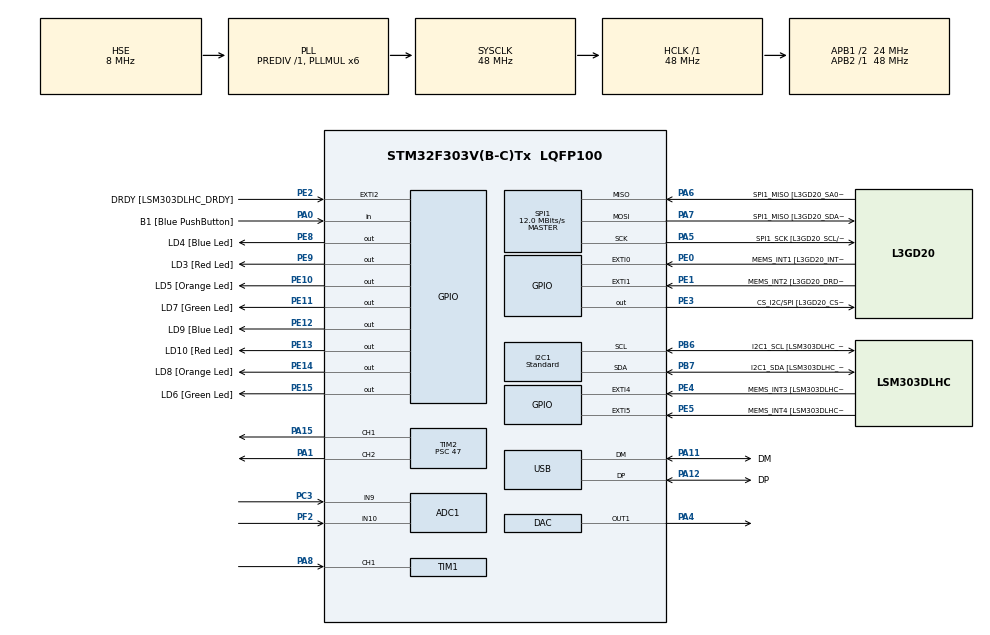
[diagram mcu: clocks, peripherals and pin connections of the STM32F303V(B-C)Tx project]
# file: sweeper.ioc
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ADC1.Channel-0\#ChannelRegularConversion=ADC_CHANNEL_9
ADC1.ContinuousConvMode=ENABLE
ADC1.NbrOfConversionFlag=1
ADC1.Offset-0\#ChannelRegularConversion=0
ADC1.OffsetNumber-0\#ChannelRegularConversion=ADC_OFFSET_NONE
ADC1.Rank-0\#ChannelRegularConversion=1
ADC1.SamplingTime-0\#ChannelRegularConversion=ADC_SAMPLETIME_1CYCLE_5
ADC1.SamplingTimeOPAMP-0\#ChannelRegularConversion=ADC_SAMPLETIME_19CYCLES_5
ADC1.SingleDiff-0\#ChannelRegularConversion=ADC_DIFFERENTIAL_ENDED
ADC1.master=1
DAC.DAC_Trigger=DAC_TRIGGER_T3_TRGO
Dma.DAC_CH1.0.Direction=DMA_MEMORY_TO_PERIPH
Dma.DAC_CH1.0.Instance=DMA1_Channel3
Dma.DAC_CH1.0.MemDataAlignment=DMA_MDATAALIGN_WORD
Dma.DAC_CH1.0.MemInc=DMA_MINC_ENABLE
Dma.DAC_CH1.0.Mode=DMA_CIRCULAR
Dma.DAC_CH1.0.PeriphDataAlignment=DMA_PDATAALIGN_WORD
Dma.DAC_CH1.0.PeriphInc=DMA_PINC_DISABLE
Dma.DAC_CH1.0.Priority=DMA_PRIORITY_LOW
Dma.Request0=DAC_CH1
I2C1.I2C_Speed_Mode=I2C_Standard
I2C1.Speed=100
I2C1.Timing-I2C=0x2000090E
Mcu.Family=STM32F3
Mcu.Name=STM32F303V(B-C)Tx
Mcu.Package=LQFP100
NVIC.DMA1_Channel3_IRQn=true\:0\:0\:false\:false\:true\:false\:true\:true
NVIC.PriorityGroup=NVIC_PRIORITYGROUP_0
NVIC.TIM1_CC_IRQn=true\:0\:0\:false\:false\:true\:true\:true\:true
NVIC.TIM2_IRQn=true\:0\:0\:false\:false\:true\:true\:true\:true
PA0.GPIO_Label=B1 [Blue PushButton]
PA0.Signal=GPIO_Input
PA1.Signal=S_TIM2_CH2
PA11.GPIO_Label=DM
PA11.Mode=Device
PA11.Signal=USB_DM
PA12.GPIO_Label=DP
PA12.Mode=Device
PA12.Signal=USB_DP
PA13.GPIO_Label=SWDIO
PA13.Mode=Serial_Wire
PA13.Signal=SYS_JTMS-SWDIO
PA14.GPIO_Label=SWCLK
PA14.Mode=Serial_Wire
PA14.Signal=SYS_JTCK-SWCLK
PA15.Signal=S_TIM2_CH1_ETR
PA4.Signal=COMP_DAC1_group
PA5.GPIO_Label=SPI1_SCK [L3GD20_SCL/SPC]
PA5.Mode=Full_Duplex_Master
PA5.Signal=SPI1_SCK
PA6.GPIO_Label=SPI1_MISO [L3GD20_SA0/SDO]
PA6.Mode=Full_Duplex_Master
PA6.Signal=SPI1_MISO
PA7.GPIO_Label=SPI1_MISO [L3GD20_SDA/SDI/SDO]
PA7.Mode=Full_Duplex_Master
PA7.Signal=SPI1_MOSI
PA8.Signal=S_TIM1_CH1
PB3.GPIO_Label=SWO
PB3.Signal=SYS_JTDO-TRACESWO
PB6.GPIO_Label=I2C1_SCL [LSM303DLHC_SCL]
PB6.GPIO_Pu=GPIO_PULLUP
PB6.Mode=I2C
PB6.Signal=I2C1_SCL
PB7.GPIO_Label=I2C1_SDA [LSM303DLHC_SDA]
PB7.GPIO_Pu=GPIO_PULLUP
PB7.Mode=I2C
PB7.Signal=I2C1_SDA
PC14-OSC32_IN.GPIO_Label=OSC32_IN
PC14-OSC32_IN.Signal=RCC_OSC32_IN
PC15-OSC32_OUT.GPIO_Label=OSC32_OUT
PC15-OSC32_OUT.Signal=RCC_OSC32_OUT
PC3.Signal=ADCx_IN9
PE0.GPIO_Label=MEMS_INT1 [L3GD20_INT1]
PE0.GPIO_ModeDefaultEXTI=GPIO_MODE_EVT_RISING
PE0.Signal=GPXTI0
PE1.GPIO_Label=MEMS_INT2 [L3GD20_DRDY/INT2]
PE1.GPIO_ModeDefaultEXTI=GPIO_MODE_EVT_RISING
PE1.Signal=GPXTI1
PE10.GPIO_Label=LD5 [Orange Led]
PE10.Signal=GPIO_Output
PE11.GPIO_Label=LD7 [Green Led]
PE11.Signal=GPIO_Output
PE12.GPIO_Label=LD9 [Blue Led]
PE12.Signal=GPIO_Output
PE13.GPIO_Label=LD10 [Red Led]
PE13.Signal=GPIO_Output
PE14.GPIO_Label=LD8 [Orange Led]
PE14.Signal=GPIO_Output
PE15.GPIO_Label=LD6 [Green Led]
PE15.Signal=GPIO_Output
PE2.GPIO_Label=DRDY [LSM303DLHC_DRDY]
PE2.GPIO_ModeDefaultEXTI=GPIO_MODE_EVT_RISING
PE2.Signal=GPXTI2
PE3.GPIO_Label=CS_I2C/SPI [L3GD20_CS_I2C/SPI]
PE3.Signal=GPIO_Output
PE4.GPIO_Label=MEMS_INT3 [LSM303DLHC_INT1]
PE4.GPIO_ModeDefaultEXTI=GPIO_MODE_EVT_RISING
PE4.Signal=GPXTI4
PE5.GPIO_Label=MEMS_INT4 [LSM303DLHC_INT2]
PE5.GPIO_ModeDefaultEXTI=GPIO_MODE_EVT_RISING
PE5.Signal=GPXTI5
PE8.GPIO_Label=LD4 [Blue Led]
PE8.Signal=GPIO_Output
PE9.GPIO_Label=LD3 [Red Led]
PE9.Signal=GPIO_Output
PF0-OSC_IN.GPIO_Label=OSC_IN
PF0-OSC_IN.Mode=HSE-External-Clock-Source
PF0-OSC_IN.Signal=RCC_OSC_IN
PF1-OSC_OUT.GPIO_Label=OSC_OUT
PF1-OSC_OUT.Signal=RCC_OSC_OUT
PF2.Signal=ADCx_IN10
ProjectManager.HeapSize=0x200
ProjectManager.StackSize=0x400
ProjectManager.TargetToolchain=STM32CubeIDE
RCC.AHBFreq_Value=48000000
RCC.APB1CLKDivider=RCC_HCLK_DIV2
RCC.APB1Freq_Value=24000000
RCC.APB1TimFreq_Value=48000000
RCC.APB2Freq_Value=48000000
RCC.APB2TimFreq_Value=48000000
RCC.CortexFreq_Value=48000000
RCC.HCLKFreq_Value=48000000
RCC.HSE_VALUE=8000000
RCC.HSI_VALUE=8000000
RCC.LSE_VALUE=32768
RCC.PLLMUL=RCC_PLL_MUL6
RCC.SYSCLKFreq_VALUE=48000000
RCC.SYSCLKSourceVirtual=RCC_SYSCLKSOURCE_PLLCLK
RCC.USBFreq_Value=48000000
SH.ADCx_IN10.0=ADC1_IN10,IN9-Differential
SH.ADCx_IN9.0=ADC1_IN9,IN9-Differential
SH.COMP_DAC1_group.0=DAC_OUT1,DAC_OUT1
SH.S_TIM1_CH1.0=TIM1_CH1,Input_Capture1_from_TI1
SH.S_TIM2_CH1_ETR.0=TIM2_CH1,PWM Generation1 CH1
SH.S_TIM2_CH2.0=TIM2_CH2,PWM Generation2 CH2
SPI1.BaudRatePrescaler=SPI_BAUDRATEPRESCALER_4
SPI1.BaudRatePrescaler-Full_Duplex_Master=SPI_BAUDRATEPRESCALER_2
SPI1.CalculateBaudRate=12.0 MBits/s
SPI1.CalculateBaudRate-Full_Duplex_Master=24.0 MBits/s
SPI1.Direction=SPI_DIRECTION_2LINES
SPI1.Mode=SPI_MODE_MASTER
SPI1.Mode-Full_Duplex_Master=SPI_MODE_MASTER
SPI1.VirtualType=VM_MASTER
TIM1.Channel-Input_Capture1_from_TI1=TIM_CHANNEL_1
TIM1.ICPolarity_CH1=TIM_INPUTCHANNELPOLARITY_BOTHEDGE
TIM1.Prescaler=47
TIM2.AutoReloadPreload=TIM_AUTORELOAD_PRELOAD_ENABLE
TIM2.Channel-PWM\ Generation1\ CH1=TIM_CHANNEL_1
TIM2.Channel-PWM\ Generation2\ CH2=TIM_CHANNEL_2
TIM2.Period=20000
TIM2.Prescaler=47
TIM2.Pulse-PWM\ Generation1\ CH1=2000
TIM2.Pulse-PWM\ Generation2\ CH2=2000
TIM3.Period=10-1
TIM3.Prescaler=48-1
TIM3.TIM_MasterOutputTrigger=TIM_TRGO_UPDATE
VP_TIM1_VS_ClockSourceINT.Mode=Internal
VP_TIM3_VS_ClockSourceINT.Mode=Internal
board=STM32F3DISCOVERY

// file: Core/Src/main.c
/* USER CODE BEGIN Header */
/**
 ******************************************************************************
 * @file           : main.c
 * @brief          : Main program body
 ******************************************************************************
 * @attention
 *
 * Copyright (c) 2023 STMicroelectronics.
 * All rights reserved.
 *
 * This software is licensed under terms that can be found in the LICENSE file
 * in the root directory of this software component.
 * If no LICENSE file comes with this software, it is provided AS-IS.
 *
 ******************************************************************************
 */
/* USER CODE END Header */
#include "main.h"

/* USER CODE BEGIN Includes */

#include "ptu_definitions.h"
#include "ptu_i2c.h"
#include "lidar_sweep.h"
#include "sweep_flag.h"
#include "timer.h"
#include "math.h"
#include "buzzer.h"
#include "LaptopInterface.h"

/* USER CODE END Includes */

ADC_HandleTypeDef hadc1;

DAC_HandleTypeDef hdac;
DMA_HandleTypeDef hdma_dac_ch1;

I2C_HandleTypeDef hi2c1;

SPI_HandleTypeDef hspi1;

TIM_HandleTypeDef htim1;
TIM_HandleTypeDef htim2;
TIM_HandleTypeDef htim3;

PCD_HandleTypeDef hpcd_USB_FS;

/* USER CODE BEGIN PV */

#define MAX_WAIT 1000

/* USER CODE END PV */

void SystemClock_Config(void);
static void MX_GPIO_Init(void);
static void MX_DMA_Init(void);
static void MX_I2C1_Init(void);
static void MX_SPI1_Init(void);
static void MX_USB_PCD_Init(void);
static void MX_TIM2_Init(void);
static void MX_TIM1_Init(void);
static void MX_DAC_Init(void);
static void MX_TIM3_Init(void);
static void MX_ADC1_Init(void);
/* USER CODE BEGIN PFP */
void green_routine();
void red_routine();
/* USER CODE END PFP */

/* USER CODE BEGIN 0 */

uint32_t get_cleaned_pot()
{
	uint32_t readValue = Potentiometer_Read();
	uint32_t delayTime  = readValue / 2.8 + 640;
	return delayTime;
}

void enableLEDs()
{
	RCC->AHBENR |= RCC_AHBENR_GPIOEEN;

	uint16_t *led_output_registers = ((uint16_t *)&(GPIOE->MODER)) + 1;
	*led_output_registers = 0x5555;
}

void toggleLEDs(uint8_t bitmap) {
	*(((uint8_t*)&(GPIOE->ODR)) + 1) = (*(((uint8_t*)&(GPIOE->ODR)) + 1)) ^ bitmap;
}

void toggle(void){
	toggleLEDs(0b11111111);
}

void enable_clocks()
{
    RCC->AHBENR |= RCC_AHBENR_GPIOAEN | RCC_AHBENR_GPIOCEN | RCC_AHBENR_GPIOEEN;
}

void green_routine()
{
	// get pot value
	// set display to be green
	// wait proportional to pot value
	//HAL_Delay(1000);
	// set oneshot timer to end sweep
	//uint32_t readValue = Potentiometer_Read();
	toggle();
	setLaptopGreen();
	setDelay(&DelayTIM4, get_cleaned_pot(), &red_routine);
	set_green();
}

void red_routine()
{
	set_red();
	setLaptopRed();
	// get pot value
	// set display to be green
	// wait proportional to pot value
	//HAL_Delay(1000);
	// set oneshot timer to end sweep
	//uint32_t readValue = Potentiometer_Read();
//	uint32_t cleanedValue;
//	cleanedValue = (readvalue/4294967296)

	setDelay(&DelayTIM4, 3 * get_cleaned_pot(), &green_routine);
	toggle();

}

void detected_routine() {
	stopTimer(&DelayTIM4);
	set_detected();
}

void finished_routine() {
	stopTimer(&DelayTIM4);
	set_finished();
	return;
}

void setup_routine()
{
	set_setup();
	setup_sweeper(&hi2c1, &hspi1, &htim1, &htim2, &hpcd_USB_FS);
	timerInitialise(&DelayTIM4);
	HAL_TIM_Base_Start(&htim3);
	laptopInterfaceInitialise(&finished_routine);
	enable_interrupt();
	enable_clocks();
	initButtonHandler(&green_routine);
}

/* USER CODE END 0 */

int main(void)
{
  /* USER CODE BEGIN 1 */

	// Pin wiring
	//  2 x grounds between stm32 and PTU
	//  PA1 and PA15 are TIM2 channels 1 and 2. These are used to drive
	//    the PWM for the PTU
	//  PA8 is TIM1 channel 1, this is used for the LASPWM (the laser PWM signal)
	//  PB6 is I2C1 clock (SCL on the PTU), PB7 is I2C1 data (SDA on the PTU)

  /* USER CODE END 1 */

  /* MCU Configuration--------------------------------------------------------*/

  /* Reset of all peripherals, Initializes the Flash interface and the Systick. */
  HAL_Init();

  /* Configure the system clock */
  SystemClock_Config();

  /* Initialize all configured peripherals */
  MX_GPIO_Init();
  MX_DMA_Init();
  MX_I2C1_Init();
  MX_SPI1_Init();
  MX_USB_PCD_Init();
  MX_TIM2_Init();
  MX_TIM1_Init();
  MX_DAC_Init();
  MX_TIM3_Init();
  MX_ADC1_Init();
  /* USER CODE BEGIN 2 */
  HAL_ADC_Start(&hadc1);

  /* USER CODE END 2 */

  /* Infinite loop */
  /* USER CODE BEGIN WHILE */

	setup_routine();
	//toggleBuzzer(hdac);
	while (1) {
		uint32_t readValue = Potentiometer_Read();
		switch(get_status()) {
			case FINISHED:
				stopTimer(&DelayTIM4);
				break;
			case SETUP:
				break;
			case RED:
				sweep_routine(&detected_routine);
				break;
			case DETECTED:
				if (get_buzzer() == 0)
				{
					toggleBuzzer(hdac);
				}
				break;
			case GREEN:
				if (get_buzzer() == 1)
				{
					toggleBuzzer(hdac);
				}
				break;
		}

    /* USER CODE END WHILE */

	}
}

void SystemClock_Config(void)
{
  RCC_OscInitTypeDef RCC_OscInitStruct = {0};
  RCC_ClkInitTypeDef RCC_ClkInitStruct = {0};
  RCC_PeriphCLKInitTypeDef PeriphClkInit = {0};

  /** Initializes the RCC Oscillators according to the specified parameters
  * in the RCC_OscInitTypeDef structure.
  */
  RCC_OscInitStruct.OscillatorType = RCC_OSCILLATORTYPE_HSI|RCC_OSCILLATORTYPE_HSE;
  RCC_OscInitStruct.HSEState = RCC_HSE_BYPASS;
  RCC_OscInitStruct.HSEPredivValue = RCC_HSE_PREDIV_DIV1;
  RCC_OscInitStruct.HSIState = RCC_HSI_ON;
  RCC_OscInitStruct.HSICalibrationValue = RCC_HSICALIBRATION_DEFAULT;
  RCC_OscInitStruct.PLL.PLLState = RCC_PLL_ON;
  RCC_OscInitStruct.PLL.PLLSource = RCC_PLLSOURCE_HSE;
  RCC_OscInitStruct.PLL.PLLMUL = RCC_PLL_MUL6;
  if (HAL_RCC_OscConfig(&RCC_OscInitStruct) != HAL_OK)
  {
    Error_Handler();
  }

  /** Initializes the CPU, AHB and APB buses clocks
  */
  RCC_ClkInitStruct.ClockType = RCC_CLOCKTYPE_HCLK|RCC_CLOCKTYPE_SYSCLK
                              |RCC_CLOCKTYPE_PCLK1|RCC_CLOCKTYPE_PCLK2;
  RCC_ClkInitStruct.SYSCLKSource = RCC_SYSCLKSOURCE_PLLCLK;
  RCC_ClkInitStruct.AHBCLKDivider = RCC_SYSCLK_DIV1;
  RCC_ClkInitStruct.APB1CLKDivider = RCC_HCLK_DIV2;
  RCC_ClkInitStruct.APB2CLKDivider = RCC_HCLK_DIV1;

  if (HAL_RCC_ClockConfig(&RCC_ClkInitStruct, FLASH_LATENCY_1) != HAL_OK)
  {
    Error_Handler();
  }
  PeriphClkInit.PeriphClockSelection = RCC_PERIPHCLK_USB|RCC_PERIPHCLK_I2C1
                              |RCC_PERIPHCLK_TIM1|RCC_PERIPHCLK_ADC12;
  PeriphClkInit.Adc12ClockSelection = RCC_ADC12PLLCLK_DIV1;
  PeriphClkInit.I2c1ClockSelection = RCC_I2C1CLKSOURCE_HSI;
  PeriphClkInit.USBClockSelection = RCC_USBCLKSOURCE_PLL;
  PeriphClkInit.Tim1ClockSelection = RCC_TIM1CLK_HCLK;
  if (HAL_RCCEx_PeriphCLKConfig(&PeriphClkInit) != HAL_OK)
  {
    Error_Handler();
  }
}

static void MX_ADC1_Init(void)
{

  ADC_MultiModeTypeDef multimode = {0};
  ADC_ChannelConfTypeDef sConfig = {0};

  /** Common config
  */
  hadc1.Instance = ADC1;
  hadc1.Init.ClockPrescaler = ADC_CLOCK_ASYNC_DIV1;
  hadc1.Init.Resolution = ADC_RESOLUTION_12B;
  hadc1.Init.ScanConvMode = ADC_SCAN_DISABLE;
  hadc1.Init.ContinuousConvMode = ENABLE;
  hadc1.Init.DiscontinuousConvMode = DISABLE;
  hadc1.Init.ExternalTrigConvEdge = ADC_EXTERNALTRIGCONVEDGE_NONE;
  hadc1.Init.ExternalTrigConv = ADC_SOFTWARE_START;
  hadc1.Init.DataAlign = ADC_DATAALIGN_RIGHT;
  hadc1.Init.NbrOfConversion = 1;
  hadc1.Init.DMAContinuousRequests = DISABLE;
  hadc1.Init.EOCSelection = ADC_EOC_SINGLE_CONV;
  hadc1.Init.LowPowerAutoWait = DISABLE;
  hadc1.Init.Overrun = ADC_OVR_DATA_OVERWRITTEN;
  if (HAL_ADC_Init(&hadc1) != HAL_OK)
  {
    Error_Handler();
  }

  /** Configure the ADC multi-mode
  */
  multimode.Mode = ADC_MODE_INDEPENDENT;
  if (HAL_ADCEx_MultiModeConfigChannel(&hadc1, &multimode) != HAL_OK)
  {
    Error_Handler();
  }

  /** Configure Regular Channel
  */
  sConfig.Channel = ADC_CHANNEL_9;
  sConfig.Rank = ADC_REGULAR_RANK_1;
  sConfig.SingleDiff = ADC_DIFFERENTIAL_ENDED;
  sConfig.SamplingTime = ADC_SAMPLETIME_1CYCLE_5;
  sConfig.OffsetNumber = ADC_OFFSET_NONE;
  sConfig.Offset = 0;
  if (HAL_ADC_ConfigChannel(&hadc1, &sConfig) != HAL_OK)
  {
    Error_Handler();
  }

}

static void MX_DAC_Init(void)
{

  DAC_ChannelConfTypeDef sConfig = {0};

  /** DAC Initialization
  */
  hdac.Instance = DAC;
  if (HAL_DAC_Init(&hdac) != HAL_OK)
  {
    Error_Handler();
  }

  /** DAC channel OUT1 config
  */
  sConfig.DAC_Trigger = DAC_TRIGGER_T3_TRGO;
  sConfig.DAC_OutputBuffer = DAC_OUTPUTBUFFER_ENABLE;
  if (HAL_DAC_ConfigChannel(&hdac, &sConfig, DAC_CHANNEL_1) != HAL_OK)
  {
    Error_Handler();
  }
  __HAL_REMAPTRIGGER_ENABLE(HAL_REMAPTRIGGER_DAC1_TRIG);

}

static void MX_I2C1_Init(void)
{

  hi2c1.Instance = I2C1;
  hi2c1.Init.Timing = 0x2000090E;
  hi2c1.Init.OwnAddress1 = 0;
  hi2c1.Init.AddressingMode = I2C_ADDRESSINGMODE_7BIT;
  hi2c1.Init.DualAddressMode = I2C_DUALADDRESS_DISABLE;
  hi2c1.Init.OwnAddress2 = 0;
  hi2c1.Init.OwnAddress2Masks = I2C_OA2_NOMASK;
  hi2c1.Init.GeneralCallMode = I2C_GENERALCALL_DISABLE;
  hi2c1.Init.NoStretchMode = I2C_NOSTRETCH_DISABLE;
  if (HAL_I2C_Init(&hi2c1) != HAL_OK)
  {
    Error_Handler();
  }

  /** Configure Analogue filter
  */
  if (HAL_I2CEx_ConfigAnalogFilter(&hi2c1, I2C_ANALOGFILTER_ENABLE) != HAL_OK)
  {
    Error_Handler();
  }

  /** Configure Digital filter
  */
  if (HAL_I2CEx_ConfigDigitalFilter(&hi2c1, 0) != HAL_OK)
  {
    Error_Handler();
  }

}

static void MX_SPI1_Init(void)
{

  /* SPI1 parameter configuration*/
  hspi1.Instance = SPI1;
  hspi1.Init.Mode = SPI_MODE_MASTER;
  hspi1.Init.Direction = SPI_DIRECTION_2LINES;
  hspi1.Init.DataSize = SPI_DATASIZE_4BIT;
  hspi1.Init.CLKPolarity = SPI_POLARITY_LOW;
  hspi1.Init.CLKPhase = SPI_PHASE_1EDGE;
  hspi1.Init.NSS = SPI_NSS_SOFT;
  hspi1.Init.BaudRatePrescaler = SPI_BAUDRATEPRESCALER_4;
  hspi1.Init.FirstBit = SPI_FIRSTBIT_MSB;
  hspi1.Init.TIMode = SPI_TIMODE_DISABLE;
  hspi1.Init.CRCCalculation = SPI_CRCCALCULATION_DISABLE;
  hspi1.Init.CRCPolynomial = 7;
  hspi1.Init.CRCLength = SPI_CRC_LENGTH_DATASIZE;
  hspi1.Init.NSSPMode = SPI_NSS_PULSE_ENABLE;
  if (HAL_SPI_Init(&hspi1) != HAL_OK)
  {
    Error_Handler();
  }

}

static void MX_TIM1_Init(void)
{

  TIM_ClockConfigTypeDef sClockSourceConfig = {0};
  TIM_MasterConfigTypeDef sMasterConfig = {0};
  TIM_IC_InitTypeDef sConfigIC = {0};

  htim1.Instance = TIM1;
  htim1.Init.Prescaler = 47;
  htim1.Init.CounterMode = TIM_COUNTERMODE_UP;
  htim1.Init.Period = 65535;
  htim1.Init.ClockDivision = TIM_CLOCKDIVISION_DIV1;
  htim1.Init.RepetitionCounter = 0;
  htim1.Init.AutoReloadPreload = TIM_AUTORELOAD_PRELOAD_DISABLE;
  if (HAL_TIM_Base_Init(&htim1) != HAL_OK)
  {
    Error_Handler();
  }
  sClockSourceConfig.ClockSource = TIM_CLOCKSOURCE_INTERNAL;
  if (HAL_TIM_ConfigClockSource(&htim1, &sClockSourceConfig) != HAL_OK)
  {
    Error_Handler();
  }
  if (HAL_TIM_IC_Init(&htim1) != HAL_OK)
  {
    Error_Handler();
  }
  sMasterConfig.MasterOutputTrigger = TIM_TRGO_RESET;
  sMasterConfig.MasterOutputTrigger2 = TIM_TRGO2_RESET;
  sMasterConfig.MasterSlaveMode = TIM_MASTERSLAVEMODE_DISABLE;
  if (HAL_TIMEx_MasterConfigSynchronization(&htim1, &sMasterConfig) != HAL_OK)
  {
    Error_Handler();
  }
  sConfigIC.ICPolarity = TIM_INPUTCHANNELPOLARITY_BOTHEDGE;
  sConfigIC.ICSelection = TIM_ICSELECTION_DIRECTTI;
  sConfigIC.ICPrescaler = TIM_ICPSC_DIV1;
  sConfigIC.ICFilter = 0;
  if (HAL_TIM_IC_ConfigChannel(&htim1, &sConfigIC, TIM_CHANNEL_1) != HAL_OK)
  {
    Error_Handler();
  }

}

static void MX_TIM2_Init(void)
{

  TIM_MasterConfigTypeDef sMasterConfig = {0};
  TIM_OC_InitTypeDef sConfigOC = {0};

  htim2.Instance = TIM2;
  htim2.Init.Prescaler = 47;
  htim2.Init.CounterMode = TIM_COUNTERMODE_UP;
  htim2.Init.Period = 20000;
  htim2.Init.ClockDivision = TIM_CLOCKDIVISION_DIV1;
  htim2.Init.AutoReloadPreload = TIM_AUTORELOAD_PRELOAD_ENABLE;
  if (HAL_TIM_PWM_Init(&htim2) != HAL_OK)
  {
    Error_Handler();
  }
  sMasterConfig.MasterOutputTrigger = TIM_TRGO_RESET;
  sMasterConfig.MasterSlaveMode = TIM_MASTERSLAVEMODE_DISABLE;
  if (HAL_TIMEx_MasterConfigSynchronization(&htim2, &sMasterConfig) != HAL_OK)
  {
    Error_Handler();
  }
  sConfigOC.OCMode = TIM_OCMODE_PWM1;
  sConfigOC.Pulse = 2000;
  sConfigOC.OCPolarity = TIM_OCPOLARITY_HIGH;
  sConfigOC.OCFastMode = TIM_OCFAST_DISABLE;
  if (HAL_TIM_PWM_ConfigChannel(&htim2, &sConfigOC, TIM_CHANNEL_1) != HAL_OK)
  {
    Error_Handler();
  }
  if (HAL_TIM_PWM_ConfigChannel(&htim2, &sConfigOC, TIM_CHANNEL_2) != HAL_OK)
  {
    Error_Handler();
  }
  HAL_TIM_MspPostInit(&htim2);

}

static void MX_TIM3_Init(void)
{

  TIM_ClockConfigTypeDef sClockSourceConfig = {0};
  TIM_MasterConfigTypeDef sMasterConfig = {0};

  htim3.Instance = TIM3;
  htim3.Init.Prescaler = 48-1;
  htim3.Init.CounterMode = TIM_COUNTERMODE_UP;
  htim3.Init.Period = 10-1;
  htim3.Init.ClockDivision = TIM_CLOCKDIVISION_DIV1;
  htim3.Init.AutoReloadPreload = TIM_AUTORELOAD_PRELOAD_DISABLE;
  if (HAL_TIM_Base_Init(&htim3) != HAL_OK)
  {
    Error_Handler();
  }
  sClockSourceConfig.ClockSource = TIM_CLOCKSOURCE_INTERNAL;
  if (HAL_TIM_ConfigClockSource(&htim3, &sClockSourceConfig) != HAL_OK)
  {
    Error_Handler();
  }
  sMasterConfig.MasterOutputTrigger = TIM_TRGO_UPDATE;
  sMasterConfig.MasterSlaveMode = TIM_MASTERSLAVEMODE_DISABLE;
  if (HAL_TIMEx_MasterConfigSynchronization(&htim3, &sMasterConfig) != HAL_OK)
  {
    Error_Handler();
  }

}

static void MX_USB_PCD_Init(void)
{

  hpcd_USB_FS.Instance = USB;
  hpcd_USB_FS.Init.dev_endpoints = 8;
  hpcd_USB_FS.Init.speed = PCD_SPEED_FULL;
  hpcd_USB_FS.Init.phy_itface = PCD_PHY_EMBEDDED;
  hpcd_USB_FS.Init.low_power_enable = DISABLE;
  hpcd_USB_FS.Init.battery_charging_enable = DISABLE;
  if (HAL_PCD_Init(&hpcd_USB_FS) != HAL_OK)
  {
    Error_Handler();
  }

}

static void MX_DMA_Init(void)
{

  /* DMA controller clock enable */
  __HAL_RCC_DMA1_CLK_ENABLE();

  /* DMA interrupt init */
  /* DMA1_Channel3_IRQn interrupt configuration */
  HAL_NVIC_SetPriority(DMA1_Channel3_IRQn, 0, 0);
  HAL_NVIC_EnableIRQ(DMA1_Channel3_IRQn);

}

static void MX_GPIO_Init(void)
{
  GPIO_InitTypeDef GPIO_InitStruct = {0};

  /* GPIO Ports Clock Enable */
  __HAL_RCC_GPIOE_CLK_ENABLE();
  __HAL_RCC_GPIOC_CLK_ENABLE();
  __HAL_RCC_GPIOF_CLK_ENABLE();
  __HAL_RCC_GPIOA_CLK_ENABLE();
  __HAL_RCC_GPIOB_CLK_ENABLE();

  /*Configure GPIO pin Output Level */
  HAL_GPIO_WritePin(GPIOE, CS_I2C_SPI_Pin|LD4_Pin|LD3_Pin|LD5_Pin
                          |LD7_Pin|LD9_Pin|LD10_Pin|LD8_Pin
                          |LD6_Pin, GPIO_PIN_RESET);

  /*Configure GPIO pins : DRDY_Pin MEMS_INT3_Pin MEMS_INT4_Pin MEMS_INT1_Pin
                           MEMS_INT2_Pin */
  GPIO_InitStruct.Pin = DRDY_Pin|MEMS_INT3_Pin|MEMS_INT4_Pin|MEMS_INT1_Pin
                          |MEMS_INT2_Pin;
  GPIO_InitStruct.Mode = GPIO_MODE_EVT_RISING;
  GPIO_InitStruct.Pull = GPIO_NOPULL;
  HAL_GPIO_Init(GPIOE, &GPIO_InitStruct);

  /*Configure GPIO pins : CS_I2C_SPI_Pin LD4_Pin LD3_Pin LD5_Pin
                           LD7_Pin LD9_Pin LD10_Pin LD8_Pin
                           LD6_Pin */
  GPIO_InitStruct.Pin = CS_I2C_SPI_Pin|LD4_Pin|LD3_Pin|LD5_Pin
                          |LD7_Pin|LD9_Pin|LD10_Pin|LD8_Pin
                          |LD6_Pin;
  GPIO_InitStruct.Mode = GPIO_MODE_OUTPUT_PP;
  GPIO_InitStruct.Pull = GPIO_NOPULL;
  GPIO_InitStruct.Speed = GPIO_SPEED_FREQ_LOW;
  HAL_GPIO_Init(GPIOE, &GPIO_InitStruct);

  /*Configure GPIO pin : B1_Pin */
  GPIO_InitStruct.Pin = B1_Pin;
  GPIO_InitStruct.Mode = GPIO_MODE_INPUT;
  GPIO_InitStruct.Pull = GPIO_NOPULL;
  HAL_GPIO_Init(B1_GPIO_Port, &GPIO_InitStruct);

}

void Error_Handler(void)
{
	__disable_irq();
	while (1)
	{
	}
}
